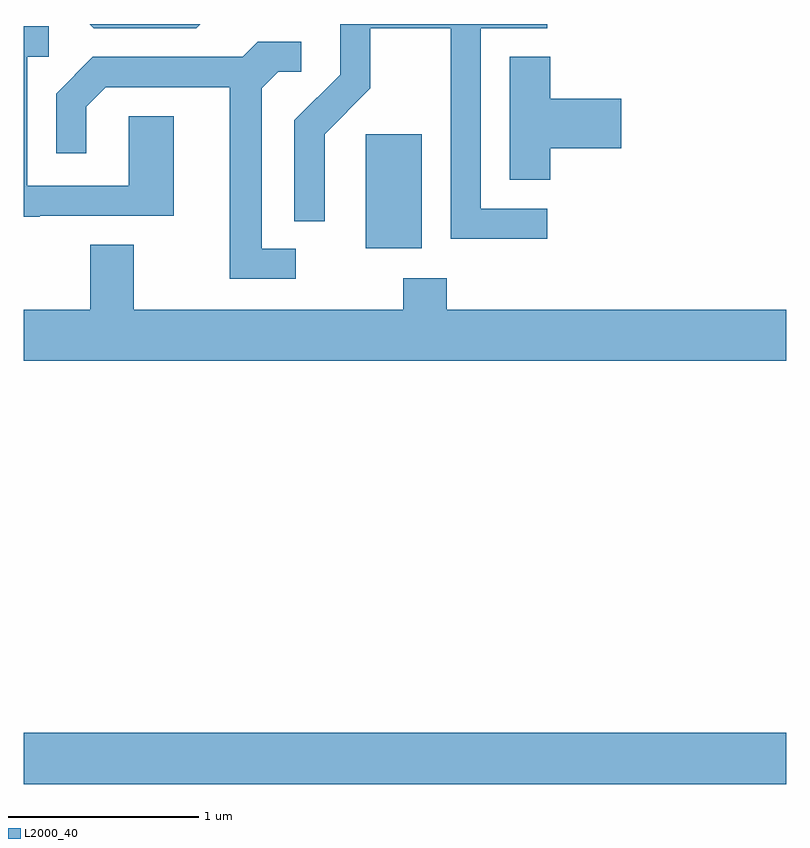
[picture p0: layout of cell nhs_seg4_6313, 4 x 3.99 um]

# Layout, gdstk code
import gdstk
lib = gdstk.Library(unit=1e-6, precision=1e-09)
def R(c, l, rs):  # rectangles x0, y0, x1, y1
    for r in rs: c.add(gdstk.rectangle(r[:2], r[2:], *l))
def P(c, l, *ps):  # polygons
    for p in ps: c.add(gdstk.Polygon(p, *l))
L2000_40 = (2000, 40)

nhs_seg4_6313 = lib.new_cell('nhs_seg4_6313')
R(nhs_seg4_6313, L2000_40, [(369.611,1367.996,373.611,1368.264), (371.406,1370.806,371.699,1371.404)])
P(nhs_seg4_6313, L2000_40, [(370.538,1371.982),(369.958,1371.982),(369.979,1371.961),(370.517,1371.961)],
  [(372.358,1371.014),(372.009,1371.014),(372.009,1371.961),(372.358,1371.961),(372.358,1371.982),(371.271,1371.982),(371.271,1371.717),(371.031,1371.477),(371.031,1370.948),(371.189,1370.948),(371.189,1371.404),(371.429,1371.644),(371.429,1371.961),(371.851,1371.961),(371.851,1370.856),(372.358,1370.856)],
  [(369.695,1370.976),(370.399,1370.976),(370.399,1371.499),(370.161,1371.499),(370.161,1371.134),(369.629,1371.134),(369.629,1371.811),(369.743,1371.811),(369.743,1371.969),(369.611,1371.969),(369.611,1370.971),(369.695,1370.971)],
  [(371.038,1370.804),(370.859,1370.804),(370.859,1371.644),(370.947,1371.731),(371.068,1371.731),(371.068,1371.889),(370.839,1371.889),(370.759,1371.809),(369.974,1371.809),(369.781,1371.617),(369.781,1371.303),(369.939,1371.303),(369.939,1371.549),(370.042,1371.651),(370.691,1371.651),(370.691,1370.646),(371.038,1370.646)],
  [(372.374,1371.331),(372.744,1371.331),(372.744,1371.589),(372.374,1371.589),(372.374,1371.809),(372.161,1371.809),(372.161,1371.166),(372.374,1371.166)],
  [(373.611,1370.484),(371.829,1370.484),(371.829,1370.649),(371.601,1370.649),(371.601,1370.484),(370.189,1370.484),(370.189,1370.824),(369.961,1370.824),(369.961,1370.484),(369.611,1370.484),(369.611,1370.216),(373.611,1370.216)])

lib.write_gds('nhs_seg4_6313.gds')
